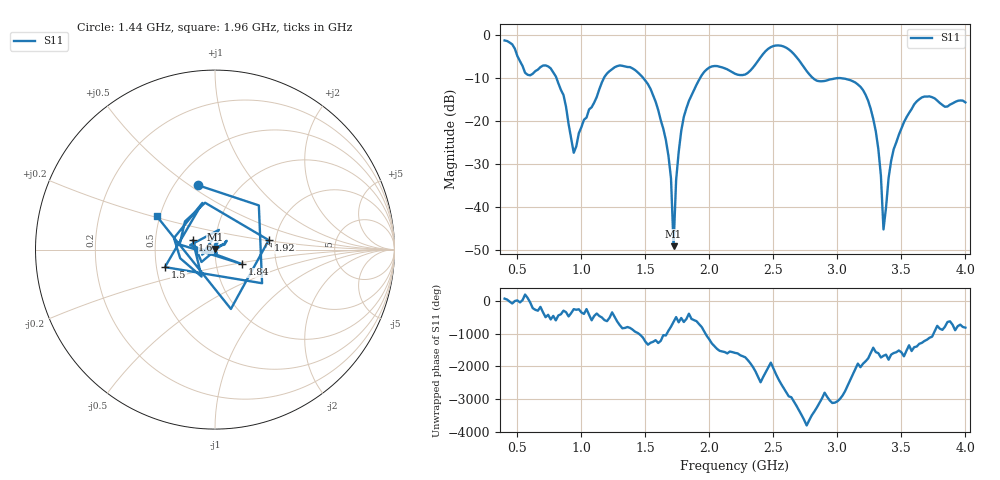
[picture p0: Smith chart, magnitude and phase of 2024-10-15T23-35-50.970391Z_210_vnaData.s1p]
! Created with skrf (http://scikit-rf.org).
# Hz S RI R 50.0
!freq ReS11 ImS11
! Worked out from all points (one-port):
!   181 points, 400 MHz to 4 GHz, reference 50 ohm
!   lowest |S11| = -49.2 dB at 1.72 GHz (marker M1), VSWR 1.01, Z = 50.1 + j0.344 ohm
!   |S11| at or under -10 dB: 805.3 MHz to 1.175 GHz (370 MHz wide, 37.4 % of centre); 1.484 GHz to 1.927 GHz (442.3 MHz wide, 25.9 % of centre); 3.03 GHz to end of sweep (the widest 3 of 4)
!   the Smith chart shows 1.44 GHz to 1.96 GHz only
!   S11 on the Smith chart (normalised r, x): 1.44 GHz: 0.65, +0.54; 1.5 GHz: 0.55, -0.12; 1.6 GHz: 0.78, +0.08; 1.84 GHz: 1.34, -0.22; 1.92 GHz: 1.84, +0.21; 1.96 GHz: 0.48, +0.21
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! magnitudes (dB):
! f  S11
! 400 MHz  -1.2
! 580 MHz  -9.2
! 760 MHz  -7.7
! 860 MHz  -13.9
! 940 MHz  -27.4
! 1.18 GHz  -9.7
! 1.3 GHz  -7.0
! 1.44 GHz  -8.6
! 1.5 GHz  -10.6
! 1.6 GHz  -17.4
! 1.7 GHz  -33.3
! 1.72 GHz  -49.2
! 1.74 GHz  -33.8
! 1.76 GHz  -27.2
! 1.84 GHz  -15.3
! 1.92 GHz  -10.3
! 1.96 GHz  -8.5
! 2.2 GHz  -9.0
! 2.5 GHz  -2.5
! 2.66 GHz  -4.4
! 2.84 GHz  -10.6
! 3.1 GHz  -10.5
! 3.28 GHz  -19.5
! 3.34 GHz  -32.8
! 3.36 GHz  -45.3
! 3.44 GHz  -26.5
! 3.56 GHz  -18.1
! 4 GHz  -15.6
